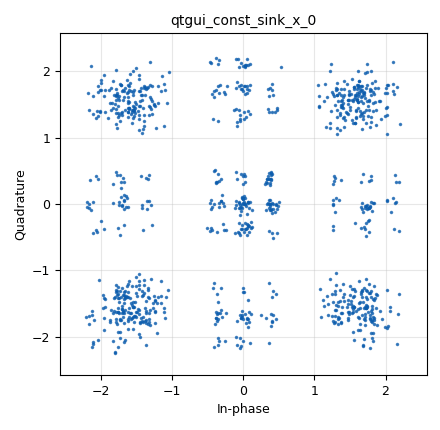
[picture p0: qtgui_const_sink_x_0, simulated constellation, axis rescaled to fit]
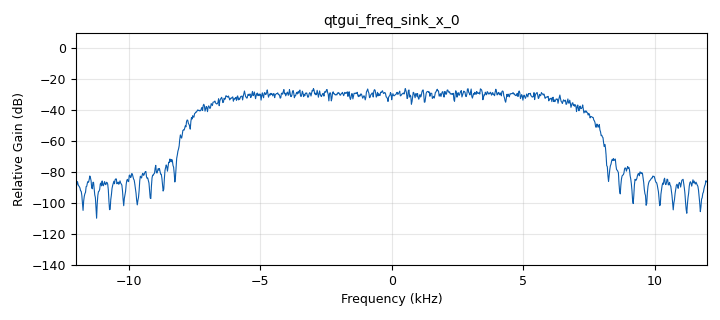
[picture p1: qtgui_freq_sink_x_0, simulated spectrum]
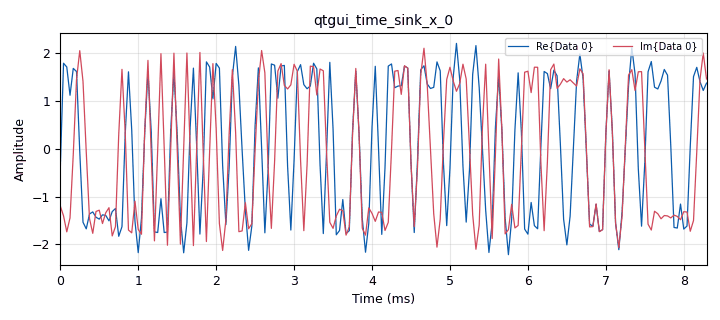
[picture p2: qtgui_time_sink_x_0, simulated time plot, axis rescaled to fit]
options:
  parameters:
    category: Custom
    generate_options: qt_gui
    id: qpsk_transmitter
    output_language: python
    title: qpsk_transmitter
  states: {}

blocks:
- name: center_freq
  id: variable
  parameters:
    value: 430E6
  states: {}
- name: constellation_object
  id: variable_constellation
  parameters:
    precision: '8'
    type: qpsk
  states: {}
- name: excess_bw
  id: variable
  parameters:
    value: '0.35'
  states: {}
- name: samp_rate
  id: variable
  parameters:
    value: 24E3
  states: {}
- name: sink_bw
  id: variable
  parameters:
    value: '62500'
  states: {}
- name: sps
  id: variable
  parameters:
    value: '2'
  states: {}
- name: analog_random_source_x_0
  id: analog_random_source_x
  parameters:
    max: '256'
    min: '0'
    num_samps: '1024'
    repeat: 'True'
    type: byte
  states: {}
- name: digital_constellation_modulator_0
  id: digital_constellation_modulator
  parameters:
    constellation: constellation_object
    differential: 'True'
    excess_bw: excess_bw
    samples_per_symbol: sps
  states: {}
- name: qtgui_const_sink_x_0
  id: qtgui_const_sink_x
  parameters:
    gui_hint: 0,2,1,2
    size: '1024'
    type: complex
  states: {}
- name: qtgui_freq_sink_x_0
  id: qtgui_freq_sink_x
  parameters:
    average: '0.05'
    bw: samp_rate
    fc: '0'
    fftsize: '1024'
    gui_hint: 1,0,1,4
    type: complex
  states: {}
- name: qtgui_time_sink_x_0
  id: qtgui_time_sink_x
  parameters:
    alpha1: '0.5'
    alpha2: '0.5'
    gui_hint: 0,0,1,2
    label1: ''
    label2: ''
    name: ''
    size: '200'
    srate: samp_rate
    tr_mode: qtgui.TRIG_MODE_NORM
    type: complex
    ymax: '2'
    ymin: '-2'
  states: {}
- name: uhd_usrp_sink_0
  id: uhd_usrp_sink
  parameters:
    ant0: '"TX/RX"'
    bw0: sink_bw
    center_freq0: center_freq
    dev_addr: ''
    gain0: '1'
    gain_type0: normalized
    samp_rate: samp_rate
    sync: none
    type: fc32
  states: {}

connections:
- [analog_random_source_x_0, '0', digital_constellation_modulator_0, '0']
- [digital_constellation_modulator_0, '0', qtgui_const_sink_x_0, '0']
- [digital_constellation_modulator_0, '0', qtgui_freq_sink_x_0, '0']
- [digital_constellation_modulator_0, '0', qtgui_time_sink_x_0, '0']
- [digital_constellation_modulator_0, '0', uhd_usrp_sink_0, '0']

metadata:
  file_format: 1
  grc_version: 3.10.12.0
